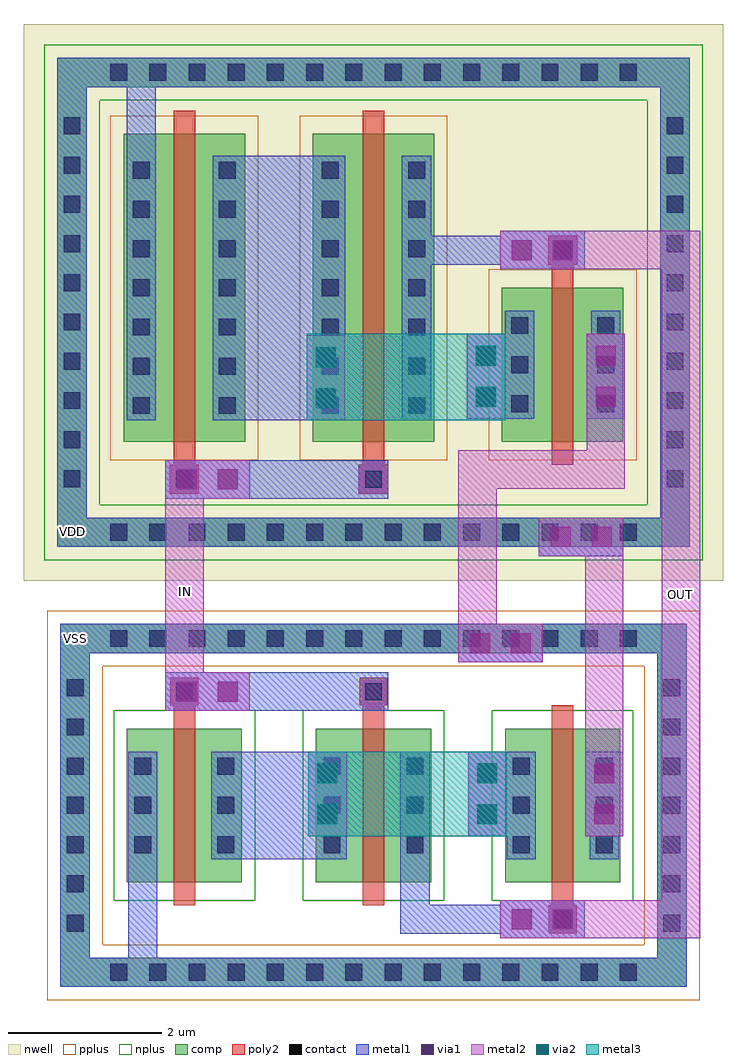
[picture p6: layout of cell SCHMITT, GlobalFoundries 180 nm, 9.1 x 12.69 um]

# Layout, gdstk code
import gdstk
lib = gdstk.Library(unit=1e-6, precision=1e-09)
def R(c, l, rs):  # rectangles x0, y0, x1, y1
    for r in rs: c.add(gdstk.rectangle(r[:2], r[2:], *l))
def A(c, l, x, y, w, h, nx, ny, dx, dy):  # array of equal rectangles
    R(c, l, [(x+i*dx, y+j*dy, x+i*dx+w, y+j*dy+h) for i in range(nx) for j in range(ny)])
nwell = (21, 0)
comp = (22, 0)
poly2 = (30, 0)
pplus = (31, 0)
nplus = (32, 0)
contact = (33, 0)
metal1 = (34, 0)
via1 = (35, 0)
metal2 = (36, 0)
via2 = (38, 0)
metal3 = (42, 0)

pfet_190 = lib.new_cell('pfet$190')
R(pfet_190, nwell, [(-0.9,-0.44,1.56,4.44)])
R(pfet_190, comp, [(-0.46,0,0,4), (0,0,0.66,4), (0.66,0,1.12,4)])
R(pfet_190, poly2, [(0.14,-0.68,0.52,-0.3), (0.19,-0.3,0.47,4.3)])
R(pfet_190, pplus, [(-0.63,-0.24,1.29,4.24)])
A(pfet_190, contact, -0.34, 0.36, 0.22, 0.22, 1, 7, 0, 0.51)
A(pfet_190, contact, 0.78, 0.36, 0.22, 0.22, 1, 7, 0, 0.51)
R(pfet_190, contact, [(0.22,-0.6,0.44,-0.38)])
R(pfet_190, metal1, [(0.14,-0.68,0.52,-0.3), (-0.42,0.28,-0.04,3.72), (0.7,0.28,1.08,3.72)])

pfet_191 = lib.new_cell('pfet$191')
R(pfet_191, nwell, [(-0.9,-0.44,1.56,2.44)])
R(pfet_191, comp, [(-0.46,0,0,2), (0,0,0.66,2), (0.66,0,1.12,2)])
R(pfet_191, poly2, [(0.19,-0.3,0.47,2.3), (0.14,2.3,0.52,2.68)])
R(pfet_191, pplus, [(-0.63,-0.24,1.29,2.24)])
A(pfet_191, contact, -0.34, 0.38, 0.22, 0.22, 1, 3, 0, 0.51)
A(pfet_191, contact, 0.78, 0.38, 0.22, 0.22, 1, 3, 0, 0.51)
R(pfet_191, contact, [(0.22,2.38,0.44,2.6)])
R(pfet_191, metal1, [(-0.42,0.3,-0.04,1.7), (0.7,0.3,1.08,1.7), (0.14,2.3,0.52,2.68)])

via_dev_616 = lib.new_cell('via_dev$616')
R(via_dev_616, metal1, [(0,0,1.1,0.5)])
R(via_dev_616, via1, [(0.155,0.12,0.415,0.38), (0.685,0.12,0.945,0.38)])
R(via_dev_616, metal2, [(0,0,1.1,0.5)])

via_dev_617 = lib.new_cell('via_dev$617')
R(via_dev_617, metal1, [(0,0,0.5,1.1)])
R(via_dev_617, via1, [(0.12,0.155,0.38,0.415), (0.12,0.685,0.38,0.945)])
R(via_dev_617, metal2, [(0,0,0.5,1.1)])
R(via_dev_617, via2, [(0.12,0.155,0.38,0.415), (0.12,0.685,0.38,0.945)])
R(via_dev_617, metal3, [(0,0,0.5,1.1)])

via_dev_618 = lib.new_cell('via_dev$618')
R(via_dev_618, metal1, [(0,0,0.5,1.1)])
R(via_dev_618, via1, [(0.12,0.155,0.38,0.415), (0.12,0.685,0.38,0.945)])
R(via_dev_618, metal2, [(0,0,0.5,1.1)])

nfet_205 = lib.new_cell('nfet$205')
R(nfet_205, comp, [(-0.42,0,0,2), (0,0,0.66,2), (0.66,0,1.08,2)])
R(nfet_205, poly2, [(0.19,-0.3,0.47,2.3), (0.15,2.3,0.51,2.66)])
R(nfet_205, nplus, [(-0.59,-0.24,1.25,2.24)])
A(nfet_205, contact, -0.32, 0.38, 0.22, 0.22, 1, 3, 0, 0.51)
A(nfet_205, contact, 0.76, 0.38, 0.22, 0.22, 1, 3, 0, 0.51)
R(nfet_205, contact, [(0.22,2.37,0.44,2.59)])
R(nfet_205, metal1, [(-0.4,0.3,-0.02,1.7), (0.68,0.3,1.06,1.7), (0.14,2.29,0.52,2.67)])

nfet_206 = lib.new_cell('nfet$206')
R(nfet_206, comp, [(-0.42,0,0,2), (0,0,0.66,2), (0.66,0,1.08,2)])
R(nfet_206, poly2, [(0.15,-0.66,0.51,-0.3), (0.19,-0.3,0.47,2.3)])
R(nfet_206, nplus, [(-0.59,-0.24,1.25,2.24)])
A(nfet_206, contact, -0.32, 0.38, 0.22, 0.22, 1, 3, 0, 0.51)
A(nfet_206, contact, 0.76, 0.38, 0.22, 0.22, 1, 3, 0, 0.51)
R(nfet_206, contact, [(0.22,-0.59,0.44,-0.37)])
R(nfet_206, metal1, [(0.14,-0.67,0.52,-0.29), (-0.4,0.3,-0.02,1.7), (0.68,0.3,1.06,1.7)])

schmitt = lib.new_cell('SCHMITT')
R(schmitt, nwell, [(0.14,5.63,9.24,12.87)])
R(schmitt, pplus, [(0.45,0.18,1.17,5.24), (1.17,0.18,8.93,0.9), (8.21,0.9,8.93,4.52), (1.17,4.52,8.93,5.24)])
R(schmitt, nplus, [(0.41,5.9,1.13,12.6), (1.13,5.9,8.97,6.62), (8.25,6.62,8.97,11.88), (1.13,11.88,8.97,12.6)])
A(schmitt, contact, 1.265, 0.43, 0.22, 0.22, 14, 2, 0.51, 4.34)
A(schmitt, contact, 0.7, 1.07, 0.22, 0.22, 1, 7, 0, 0.51)
A(schmitt, contact, 8.46, 1.07, 0.22, 0.22, 1, 7, 0, 0.51)
A(schmitt, contact, 1.265, 6.15, 0.22, 0.22, 14, 2, 0.51, 5.98)
A(schmitt, contact, 0.66, 6.845, 0.22, 0.22, 1, 10, 0, 0.51)
A(schmitt, contact, 8.5, 6.845, 0.22, 0.22, 1, 10, 0, 0.51)
R(schmitt, metal1, [(0.62,0.35,8.38,0.73), (8.38,0.35,8.76,4.69), (0.62,0.73,1,4.69), (1.5,0.73,1.88,2.01), (2.96,2.01,3.96,3.41), (0.62,4.69,8.76,5.07), (0.58,6.07,0.96,12.43), (0.96,6.07,8.8,6.45), (8.42,6.45,8.8,12.43), (2.98,7.72,3.94,11.16), (1.48,11.16,1.86,12.05), (0.96,12.05,8.42,12.43)])
R(schmitt, metal2, [(8.44,1.48,8.94,9.68), (7.44,2.31,7.94,6.45), (1.98,4.44,2.48,6.7)])
R(schmitt, metal3, [(3.84,2.31,5.92,3.41), (3.82,7.72,6.4,8.84)])
schmitt.add(gdstk.FlexPath([(7.15,10.12),(7.15,9.93),(5.06,9.93)], 0.38, ends="flush", simple_path=True, layer=34, datatype=0))  # metal1
schmitt.add(gdstk.FlexPath([(5.23,2.01),(5.23,1.23),(6.96,1.23)], 0.38, ends="flush", simple_path=True, layer=34, datatype=0))  # metal1
schmitt.add(gdstk.FlexPath([(3.08,4.19),(4.88,4.19)], 0.5, ends="flush", simple_path=True, layer=34, datatype=0))  # metal1
schmitt.add(gdstk.FlexPath([(3.08,6.95),(4.88,6.95)], 0.5, ends="flush", simple_path=True, layer=34, datatype=0))  # metal1
schmitt.add(gdstk.FlexPath([(7.71,7.74),(7.71,7.075),(6.04,7.075),(6.04,4.695)], 0.5, ends="flush", simple_path=True, layer=36, datatype=0))  # metal2
schmitt.add(gdstk.FlexPath([(7.435,9.93),(8.94,9.93)], 0.5, ends="flush", simple_path=True, layer=36, datatype=0))  # metal2
schmitt.add(gdstk.FlexPath([(7.435,1.23),(8.94,1.23)], 0.5, ends="flush", simple_path=True, layer=36, datatype=0))  # metal2
schmitt.add(gdstk.FlexPath([(0.62,0.54),(8.76,0.54)], 0.38, ends="flush", simple_path=True, layer=22, datatype=0))  # comp
schmitt.add(gdstk.FlexPath([(8.8,6.26),(0.77,6.26),(0.77,12.17)], 0.38, ends="flush", simple_path=True, layer=22, datatype=0))  # comp
schmitt.add(gdstk.FlexPath([(0.58,12.24),(8.8,12.24)], 0.38, ends="flush", simple_path=True, layer=22, datatype=0))  # comp
schmitt.add(gdstk.FlexPath([(0.81,0.73),(0.81,4.88),(8.76,4.88)], 0.38, ends="flush", simple_path=True, layer=22, datatype=0))  # comp
schmitt.add(gdstk.FlexPath([(8.61,12.05),(8.61,6.45)], 0.38, ends="flush", simple_path=True, layer=22, datatype=0))  # comp
schmitt.add(gdstk.FlexPath([(8.57,4.69),(8.57,0.73)], 0.38, ends="flush", simple_path=True, layer=22, datatype=0))  # comp
schmitt.add(gdstk.Reference(pfet_190, (1.9,7.44)))
schmitt.add(gdstk.Reference(pfet_190, (4.36,7.44)))
schmitt.add(gdstk.Reference(pfet_191, (6.82,7.44)))
schmitt.add(gdstk.Reference(via_dev_616, (6.84,5.95)))
schmitt.add(gdstk.Reference(via_dev_616, (1.98,6.7)))
schmitt.add(gdstk.Reference(via_dev_617, (5.9,7.74)))
schmitt.add(gdstk.Reference(via_dev_617, (3.82,7.72)))
schmitt.add(gdstk.Reference(via_dev_616, (6.335,9.68)))
schmitt.add(gdstk.Reference(via_dev_618, (7.46,7.74)))
schmitt.add(gdstk.Reference(nfet_205, (1.9,1.71)))
schmitt.add(gdstk.Reference(via_dev_618, (7.44,2.31)))
schmitt.add(gdstk.Reference(via_dev_616, (6.335,0.98)))
schmitt.add(gdstk.Reference(via_dev_617, (3.84,2.31)))
schmitt.add(gdstk.Reference(via_dev_617, (5.92,2.31)))
schmitt.add(gdstk.Reference(via_dev_616, (1.98,3.94)))
schmitt.add(gdstk.Reference(nfet_205, (4.36,1.71)))
schmitt.add(gdstk.Reference(nfet_206, (6.82,1.71)))
schmitt.add(gdstk.Reference(via_dev_616, (5.79,4.57)))
schmitt.add(gdstk.Label('VDD', (0.77,6.275), layer=34, texttype=10))
schmitt.add(gdstk.Label('VSS', (0.81,4.88), layer=34, texttype=10))
schmitt.add(gdstk.Label('IN', (2.245,5.49), layer=36, texttype=10))
schmitt.add(gdstk.Label('OUT', (8.685,5.455), layer=36, texttype=10))

lib.write_gds('SCHMITT.gds')
